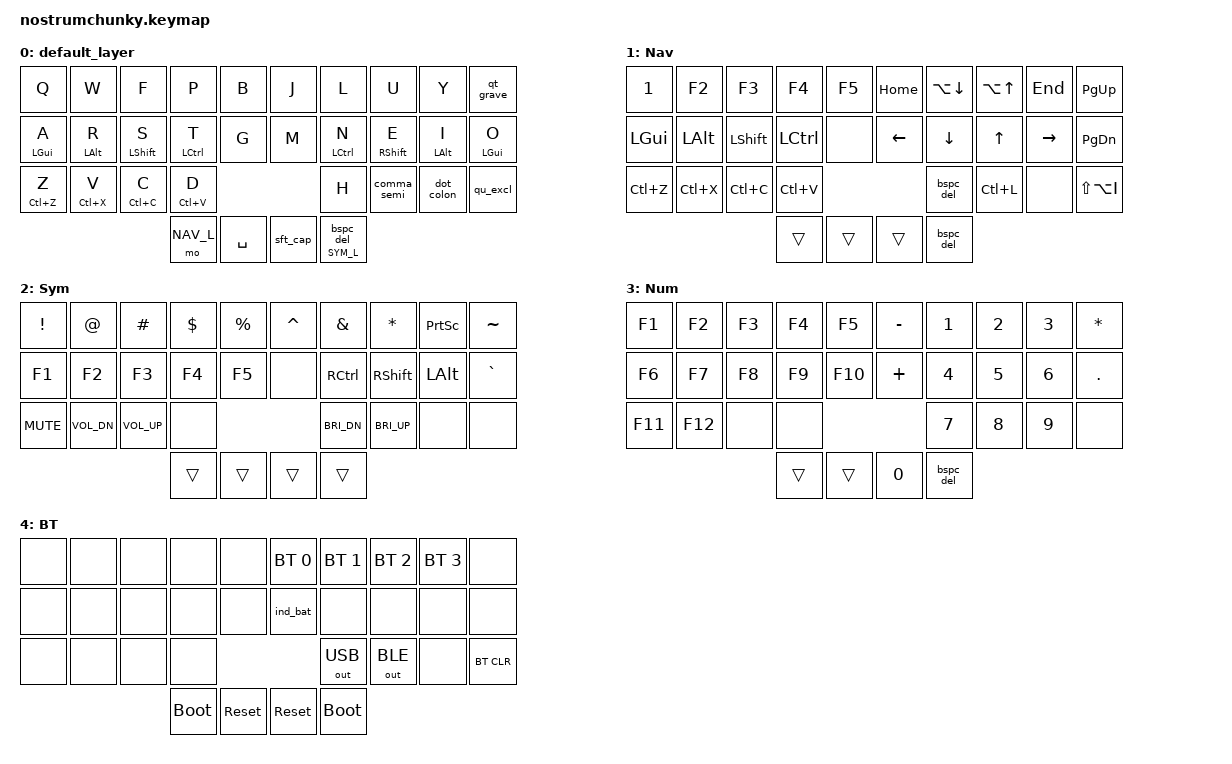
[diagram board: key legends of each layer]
/*
 * Copyright (c) 2020 The ZMK Contributors
 *
 * SPDX-License-Identifier: MIT
 */

#include <behaviors.dtsi>
#include <dt-bindings/zmk/keys.h>
#include <dt-bindings/zmk/bt.h>
#include <dt-bindings/zmk/outputs.h>
#include <behaviors/rgbled_widget.dtsi>

/* Layers */
#define DEF_L 0
#define NAV_L 1
#define SYM_L 2
#define NUM_L 3
#define BT_L 4

/* Shortcuts */
#define CUT LC(X)
#define COPY LC(C)
#define PASTE LC(V)
#define UNDO LC(Z)
#define SLALL LC(A)

/* VS Code */
#define CLONED LS(LA(DOWN))
#define REML LC(FSLH)
#define LDWN LA(DOWN)
#define LUP LA(UP)
#define CRSRINS LS(LA(I))

/* Key Groups */
#define KEYS_L 0 1 2 3 4 10 11 12 13 14 20 21 22 23 // left-hand keys
#define KEYS_R 5 6 7 8 9 15 16 17 18 19 24 25 26 27 // right-hand keys
#define THUMBS 28 29 30 31                        // thumb keys

&mt {
    flavor = "tap-preferred";    
    tapping-term-ms = <400>;
};


&sk {
    release-after-ms = <1000>;
    quick-release;
};

&caps_word {
    continue-list = <UNDERSCORE MINUS BACKSPACE>;
};

/ {
    
    combos {
        compatible = "zmk,combos";
        /*            KEY POSITIONS
         0   1   2   3   4     5   6   7   8   9
        10  11  12  13  14    15  16  17  18  19
        20  21  22  23            24  25  26  27
                    28  29    30  31              */

        /* Functions */
        esc { timeout-ms = <20>; key-positions = <0 1>; bindings = <&kp ESC>; layers = <DEF_L>; };                        
        ent { timeout-ms = <20>; key-positions = <17 18>; bindings = <&kp ENTER>; layers = <DEF_L>; };
        tab { timeout-ms = <20>; key-positions = <11 12>; bindings = <&kp TAB>; layers = <DEF_L>; };
        alt_tab { timeout-ms = <20>; key-positions = <1 2>; bindings = <&kp LA(TAB)>; layers = <DEF_L>; };
        bkspc_word { timeout-ms = <20>; key-positions = <7 8>; bindings = <&kp LC(BSPC)>; layers = <DEF_L>; };
        // del_word { timeout-ms = <20>; key-positions = <7 8 30>; bindings = <&kp LC(DEL)>; layers = <DEF_L>; };
        // bdel { timeout-ms = <20>; key-positions = <7 8>; bindings = <&bspc_del>; };
        win { timeout-ms = <20>; key-positions = <20 21>; bindings = <&kp LEFT_GUI>; layers = <DEF_L>; };
        capsword { timeout-ms = <20>; key-positions = <6 8>; bindings = <&caps_word>; layers = <DEF_L>; };
        line_com { timeout-ms = <50>; key-positions = <5 15>; bindings = <&kp REML>; layers = <NAV_L>; };
        copilot { timeout-ms = <50>; key-positions = <26 27>; bindings = <&kp LS(LG(F23))>; layers = <NAV_L>; };
        bkspc_del { timeout-ms = <20>; key-positions = <6 7>; bindings = <&bspc_del>; layers = <DEF_L>; };

        /* Symbols */
        combo_dash { timeout-ms = <20>; key-positions = <16 17>; bindings = <&kp MINUS>; layers = <DEF_L>; };
        combo_lpar { timeout-ms = <20>; key-positions = <1 11>; bindings = <&kp LPAR>; layers = <DEF_L>; };
        combo_lbkt { timeout-ms = <20>; key-positions = <2 12>; bindings = <&kp LBKT>; layers = <DEF_L>; };
        combo_lbrc { timeout-ms = <20>; key-positions = <3 13>; bindings = <&kp LBRC>; layers = <DEF_L>; };
        combo_Rpar { timeout-ms = <20>; key-positions = <8 18>; bindings = <&kp RPAR>; layers = <DEF_L>; };
        combo_Rbkt { timeout-ms = <20>; key-positions = <7 17>; bindings = <&kp RBKT>; layers = <DEF_L>; };
        combo_Rbrc { timeout-ms = <20>; key-positions = <6 16>; bindings = <&kp RBRC>; layers = <DEF_L>; };
        combo_BSLH { timeout-ms = <20>; key-positions = <24 25>; bindings = <&kp BSLH>; layers = <DEF_L NUM_L>; };
        combo_FSLH { timeout-ms = <20>; key-positions = <25 26>; bindings = <&kp FSLH>; layers = <DEF_L NUM_L>; };
        combo_LT { timeout-ms = <20>; key-positions = <13 14>; bindings = <&kp LT>; layers = <DEF_L>; };
        combo_GT { timeout-ms = <20>; key-positions = <15 16>; bindings = <&kp GT>; layers = <DEF_L>; };
        combo_EQ { timeout-ms = <20>; key-positions = <5 15>; bindings = <&kp EQUAL>; layers = <DEF_L NUM_L>; };
        combo_Pipe { timeout-ms = <20>; key-positions = <16 24>; bindings = <&kp PIPE>; layers = <DEF_L>; };
        combo_semi { timeout-ms = <20>; key-positions = <17 25>; bindings = <&kp SEMI>; layers = <DEF_L NUM_L>; };
        combo_colon { timeout-ms = <20>; key-positions = <18 26>; bindings = <&kp COLON>; layers = <DEF_L NUM_L>; };

        /* Letters */
        combo_X { timeout-ms = <50>; key-positions = <21 22>; bindings = <&kp X>; layers = <DEF_L>; };
        combo_K { timeout-ms = <100>; key-positions = <4 14>; bindings = <&kp K>; layers = <DEF_L>; };
        // combo_K2 { timeout-ms = <50>; key-positions = <1 2>; bindings = <&kp K>; layers = <DEF_L>; };

        /* Layers */
        combo_num { timeout-ms = <100>; key-positions = <28 29>; bindings = <&mo NUM_L>; layers = <DEF_L>; };
        combo_bt { timeout-ms = <100>; key-positions = <0 4>; bindings = <&mo BT_L>; layers = <DEF_L>; };
        // combo_night { timeout-ms = <100>; key-positions = <5 9>; bindings = <&tog NIGHT_L>; layers = <DEF_L>; };
            
    };

    behaviors {
        hmrl: homerow_left {
            compatible = "zmk,behavior-hold-tap";
            label = "HOMEROW_LEFT";
            #binding-cells = <2>;
            flavor = "balanced";
            tapping-term-ms = <280>;
            quick-tap-ms = <200>;
            bindings = <&kp>, <&kp>;
            hold-trigger-key-positions = <KEYS_R THUMBS>;
            hold-trigger-on-release;
            require-prior-idle-ms = <180>;
            };

        hmrr: homerow_right {
            compatible = "zmk,behavior-hold-tap";
            label = "HOMEROW_RIGHT";
            #binding-cells = <2>;
            flavor = "balanced";
            tapping-term-ms = <280>;
            quick-tap-ms = <200>;
            bindings = <&kp>, <&kp>;
            hold-trigger-key-positions = <KEYS_L THUMBS>;
            hold-trigger-on-release;
            require-prior-idle-ms = <180>;
            };

        sqt_dqt: sqt_dqt {
            compatible = "zmk,behavior-tap-dance";
            label = "SQT_DQT";
            #binding-cells = <0>;
            tapping-term-ms = <200>;
            bindings = <&kp SQT>, <&kp DQT>;
            };

        mtrsh: mt_rshift_space {
            compatible = "zmk,behavior-hold-tap";
            label = "RSHIFT_HOLDTAP";
            flavor = "hold-preferred";
            #binding-cells = <2>;    
            tapping-term-ms = <250>;
            bindings = <&kp>, <&kp>;
            };

        ltsymspc: lt_sym_bspc {
            compatible = "zmk,behavior-hold-tap";
            label = "LT_SYM_BSPC";
            flavor = "tap-preferred";
            #binding-cells = <2>;    
            tapping-term-ms = <200>;
            quick-tap-ms = <175>;
            bindings = <&mo>, <&bspc_del>;
            global-quick-tap;
            };

        /* Mod Morphs */
        bspc_del: backspace_delete {
            compatible = "zmk,behavior-mod-morph";
            label = "BACKSPACE_DELETE";
            #binding-cells = <0>;
            bindings = <&kp BACKSPACE>, <&kp DELETE>;
            mods = <(MOD_LSFT|MOD_RSFT)>;
            keep-mods = <(MOD_RSFT)>;
            };
        
        qt_grave: quote_grave {
            compatible = "zmk,behavior-mod-morph";
            label = "QUOTE_GRAVE";
            #binding-cells = <0>;
            bindings = <&sqt_dqt>, <&kp GRAVE>;
            mods = <(MOD_LSFT|MOD_RSFT)>;
            };

        comma_semi: comma_semi {
            compatible = "zmk,behavior-mod-morph";
            label = "COMMA_SEMI";
            #binding-cells = <0>;
            bindings = <&kp COMMA>, <&kp SEMI>;
            mods = <(MOD_LSFT|MOD_RSFT)>;
            };

        dot_colon: dot_colon {
            compatible = "zmk,behavior-mod-morph";
            label = "DOT_COLON";
            #binding-cells = <0>;
            bindings = <&kp DOT>, <&kp COLON>;
            mods = <(MOD_LSFT|MOD_RSFT)>;
            };

        qu_excl: qu_excl {
            compatible = "zmk,behavior-mod-morph";
            label = "QU_EXCL";
            #binding-cells = <0>;
            bindings = <&kp QMARK>, <&kp EXCL>;
            mods = <(MOD_LSFT|MOD_RSFT)>;
            };

        sft_cap: sft_cap {
            compatible = "zmk,behavior-mod-morph";
            label = "SFT_CAP";
            #binding-cells = <0>;
            bindings = <&sk LSHFT>, <&caps_word>;
            mods = <(MOD_LSFT)>;
            };

        lbrc_bkt: lbrc_bkt {
            compatible = "zmk,behavior-mod-morph";
            label = "LBRC_LBKT";
            #binding-cells = <0>;
            bindings = <&kp LBRC>, <&kp LBKT>;
            mods = <(MOD_LSFT|MOD_RSFT)>;
            };

        rbrc_bkt: rbrc_bkt {
            compatible = "zmk,behavior-mod-morph";
            label = "RBRC_RBKT";
            #binding-cells = <0>;
            bindings = <&kp RBRC>, <&kp RBKT>;
            mods = <(MOD_LSFT|MOD_RSFT)>;
            };
    };

    keymap {
        compatible = "zmk,keymap";
        default_layer {
            bindings = <
                    &kp Q         &kp W         &kp F           &kp P            &kp B           &kp J     &kp L           &kp U          &kp Y         &qt_grave   
                    &mt LGUI A    &hmrl LALT R  &hmrl LSHFT S   &hmrl LCTRL T    &kp G           &kp M     &hmrr LCTRL N   &hmrr RSHFT E  &hmrr LALT I  &hmrr LGUI O      
                    &mt UNDO Z    &mt CUT V     &mt COPY C      &mt PASTE D                                &kp H           &comma_semi    &dot_colon    &qu_excl
                                                                &mo NAV_L        &kp SPACE       &sft_cap    &ltsymspc SYM_L 0
            >;
        };
        nav_layer {
            label = "Nav";
            bindings = <
                    &kp N1       &kp F2         &kp F3          &kp F4           &kp F5           &kp HOME  &kp LDWN      &kp LUP        &kp END       &kp PG_UP 
                    &kp LGUI     &kp LALT       &kp LSHFT       &kp LCTRL        &none            &kp LEFT  &kp DOWN      &kp UP         &kp RIGHT     &kp PG_DN
                    &kp UNDO     &kp CUT        &kp COPY        &kp PASTE                                   &bspc_del     &kp LC(L)      &none         &kp CRSRINS
                                                                &trans           &trans           &trans    &bspc_del
            >;
        };
        sym_layer {
            label = "Sym";
            bindings = <
                    &kp EXCL     &kp AT         &kp HASH        &kp DLLR      &kp PRCNT          &kp CARET     &kp AMPS      &kp STAR       &kp PSCRN    &kp TILDE
                    &kp F1       &kp F2         &kp F3          &kp F4        &kp F5             &none         &kp RCTRL     &kp RSHFT      &kp LALT     &kp GRAVE
                    &kp C_MUTE   &kp C_VOL_DN   &kp C_VOL_UP    &none                                          &kp C_BRI_DN  &kp C_BRI_UP   &none        &none
                                                                &trans           &trans          &trans        &trans
            >;
        };
        num_layer {
            label = "Num";
            bindings = <
                    &kp F1     &kp F2     &kp F3    &kp F4      &kp F5           &kp MINUS     &kp N1   &kp N2         &kp N3    &kp STAR     
                    &kp F6     &kp F7     &kp F8    &kp F9      &kp F10          &kp PLUS      &kp N4   &kp N5         &kp N6    &kp DOT
                    &kp F11    &kp F12    &none     &none                                      &kp N7   &kp N8         &kp N9    &none
                                                    &trans      &trans           &kp N0        &bspc_del
            >;
        };
        bt_layer {
            label = "BT";
            bindings = <
                    &none   &none   &none   &none   &none                 &bt BT_SEL 0  &bt BT_SEL 1  &bt BT_SEL 2  &bt BT_SEL 3    &none     
                    &none   &none   &none   &none   &none                 &ind_bat      &none         &none         &none           &none     
                    &none   &none   &none   &none                                       &out OUT_USB  &out OUT_BLE  &none           &bt BT_CLR    
                                            &bootloader  &sys_reset       &sys_reset   &bootloader
            >;
        };
    };
};
